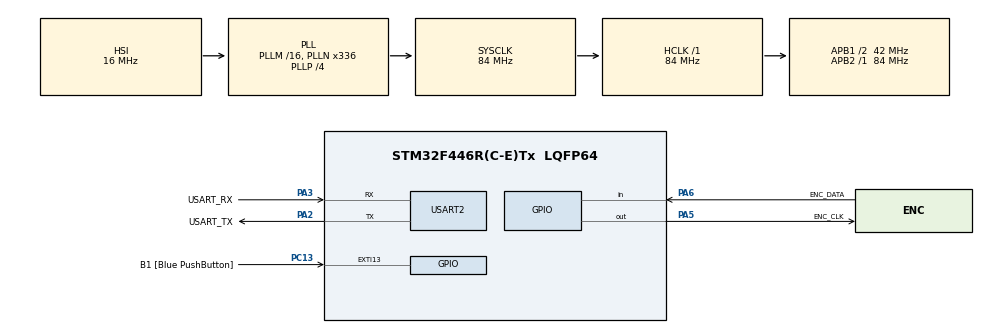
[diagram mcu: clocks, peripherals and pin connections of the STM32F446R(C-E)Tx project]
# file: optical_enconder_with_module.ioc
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Mcu.Family=STM32F4
Mcu.Name=STM32F446R(C-E)Tx
Mcu.Package=LQFP64
NVIC.PriorityGroup=NVIC_PRIORITYGROUP_0
PA13.GPIO_Label=TMS
PA13.Mode=Serial_Wire
PA13.Signal=SYS_JTMS-SWDIO
PA14.GPIO_Label=TCK
PA14.Mode=Serial_Wire
PA14.Signal=SYS_JTCK-SWCLK
PA2.GPIO_Label=USART_TX
PA2.Mode=Asynchronous
PA2.Signal=USART2_TX
PA3.GPIO_Label=USART_RX
PA3.Mode=Asynchronous
PA3.Signal=USART2_RX
PA5.GPIO_Label=ENC_CLK
PA5.GPIO_Speed=GPIO_SPEED_FREQ_VERY_HIGH
PA5.Signal=GPIO_Output
PA6.GPIO_Label=ENC_DATA
PA6.Signal=GPIO_Input
PB3.GPIO_Label=SWO
PB3.Signal=SYS_JTDO-SWO
PC13.GPIO_Label=B1 [Blue PushButton]
PC13.GPIO_ModeDefaultEXTI=GPIO_MODE_IT_FALLING
PC13.Signal=GPXTI13
PC14-OSC32_IN.Mode=LSE-External-Oscillator
PC14-OSC32_IN.Signal=RCC_OSC32_IN
PC15-OSC32_OUT.Mode=LSE-External-Oscillator
PC15-OSC32_OUT.Signal=RCC_OSC32_OUT
PH0-OSC_IN.Mode=HSE-External-Oscillator
PH0-OSC_IN.Signal=RCC_OSC_IN
PH1-OSC_OUT.Mode=HSE-External-Oscillator
PH1-OSC_OUT.Signal=RCC_OSC_OUT
ProjectManager.HeapSize=0x200
ProjectManager.StackSize=0x400
ProjectManager.TargetToolchain=STM32CubeIDE
RCC.48MHZClocksFreq_Value=84000000
RCC.AHBFreq_Value=84000000
RCC.APB1CLKDivider=RCC_HCLK_DIV2
RCC.APB1Freq_Value=42000000
RCC.APB1TimFreq_Value=84000000
RCC.APB2Freq_Value=84000000
RCC.APB2TimFreq_Value=84000000
RCC.CortexFreq_Value=84000000
RCC.FLatency-AdvancedSettings=FLASH_LATENCY_2
RCC.HCLKFreq_Value=84000000
RCC.HSE_VALUE=8000000
RCC.HSI_VALUE=16000000
RCC.PLLN=336
RCC.PLLP=RCC_PLLP_DIV4
RCC.SYSCLKFreq_VALUE=84000000
RCC.SYSCLKSource=RCC_SYSCLKSOURCE_PLLCLK
RCC.USBFreq_Value=168000000
RCC.VCOOutputFreq_Value=336000000
USART2.VirtualMode=VM_ASYNC
board=NUCLEO-F446RE

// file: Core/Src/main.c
/* USER CODE BEGIN Header */
/**
  ******************************************************************************
  * @file           : main.c
  * @brief          : Main program body
  ******************************************************************************
  * @attention
  *
  * Copyright (c) 2026 STMicroelectronics.
  * All rights reserved.
  *
  * This software is licensed under terms that can be found in the LICENSE file
  * in the root directory of this software component.
  * If no LICENSE file comes with this software, it is provided AS-IS.
  *
  ******************************************************************************
  */
/* USER CODE END Header */
#include "main.h"

UART_HandleTypeDef huart2;

/* USER CODE BEGIN PV */
uint8_t rxBuffer[6];
// Status variable: 0=OK, 1=ERROR, 2=BUSY, 3=TIMEOUT
volatile uint8_t spi_status = 0;
volatile uint8_t isFirstLoop = 1;
volatile uint32_t rawValue = 0;
volatile float position_MM = 0.0f;
volatile float start_MM = 0.0f;
volatile float myDistance = 0.0f;

/* USER CODE END PV */

void SystemClock_Config(void);
static void MX_GPIO_Init(void);
static void MX_USART2_UART_Init(void);

/* USER CODE BEGIN 0 */

// --- RENISHAW BISS-C BIT-BANG FUNCTION ---
uint32_t read_renishaw_position(void)
{
    // 1. Idle State: Master holds MA (Clock) High
    HAL_GPIO_WritePin(GPIOA, GPIO_PIN_5, GPIO_PIN_SET);

    // Tiny delay to ensure line is stable
    for(int k=0; k<20; k++) { __NOP(); }

    // 2. The "Ack" Search
    // The datasheet says encoder pulls SLO low to Ack.
    // We clock until we see this LOW signal.
    int timeout = 0;
    while (HAL_GPIO_ReadPin(GPIOA, GPIO_PIN_6) == GPIO_PIN_SET)
    {
        // Pulse Clock: Low -> High
        HAL_GPIO_WritePin(GPIOA, GPIO_PIN_5, GPIO_PIN_RESET);
        for(int k=0; k<5; k++) { __NOP(); }
        HAL_GPIO_WritePin(GPIOA, GPIO_PIN_5, GPIO_PIN_SET);
        for(int k=0; k<5; k++) { __NOP(); }

        timeout++;
        if (timeout > 5000) return 0xFFFFFFFF; // Error: Encoder not responding
    }

    // 3. The "Start Bit" Search
    // Now we clock until we see the Start Bit (Always HIGH)
    timeout = 0;
    while (HAL_GPIO_ReadPin(GPIOA, GPIO_PIN_6) == GPIO_PIN_RESET)
    {
        // Pulse Clock
        HAL_GPIO_WritePin(GPIOA, GPIO_PIN_5, GPIO_PIN_RESET);
        for(int k=0; k<5; k++) { __NOP(); }
        HAL_GPIO_WritePin(GPIOA, GPIO_PIN_5, GPIO_PIN_SET);
        for(int k=0; k<5; k++) { __NOP(); }

        timeout++;
        if (timeout > 5000) return 0xFFFFFFFF; // Error: Stuck in Ack
    }

    // 4. Read The "Zero" Bit
    // The datasheet says a "0" bit always follows the Start bit.
    // We clock once to skip past it.
    HAL_GPIO_WritePin(GPIOA, GPIO_PIN_5, GPIO_PIN_RESET);
    for(int k=0; k<5; k++) { __NOP(); }
    HAL_GPIO_WritePin(GPIOA, GPIO_PIN_5, GPIO_PIN_SET);
    for(int k=0; k<5; k++) { __NOP(); }

    // 5. Read Position Data (MSB First)
    // We read 32 bits to be safe
    uint32_t data = 0;
    for(int i = 0; i < 32; i++)
    {
        // Clock Low (Prepare bit)
        HAL_GPIO_WritePin(GPIOA, GPIO_PIN_5, GPIO_PIN_RESET);
        for(int k=0; k<5; k++) { __NOP(); }

        // Clock High (Read bit)
        HAL_GPIO_WritePin(GPIOA, GPIO_PIN_5, GPIO_PIN_SET);
        for(int k=0; k<5; k++) { __NOP(); }

        // Read Input
        int bit = HAL_GPIO_ReadPin(GPIOA, GPIO_PIN_6);
        data = (data << 1) | bit;
    }

    // 6. Stop & Timeout
    // Master sets MA High
    HAL_GPIO_WritePin(GPIOA, GPIO_PIN_5, GPIO_PIN_SET);

    // We must wait 31.25us before the next cycle
    for(int i=0; i<1000; i++) { __NOP(); }

    return data;
}

/* USER CODE END 0 */

int main(void)
{

  /* MCU Configuration--------------------------------------------------------*/

  /* Reset of all peripherals, Initializes the Flash interface and the Systick. */
  HAL_Init();

  /* Configure the system clock */
  SystemClock_Config();

  /* Initialize all configured peripherals */
  MX_GPIO_Init();
  MX_USART2_UART_Init();

  /* Infinite loop */
  while (1)
  {

    /* USER CODE BEGIN 3 */

	      // 1. Read directly using the Renishaw Protocol
	      uint32_t raw_result = read_renishaw_position();

	      // 2. Check for Errors (Our function returns 0xFFFFFFFF on timeout)
	      if (raw_result != 0xFFFFFFFF)
	      {
	          rawValue = raw_result >> 6;

	          position_MM = (float)rawValue * 0.00005f;

	          if (isFirstLoop) {
	              start_MM = position_MM;
	              isFirstLoop = 0;
	          }
	          myDistance = position_MM - start_MM;
	      }

	      HAL_Delay(5); // Small delay for the main loop
  }
  /* USER CODE END 3 */
}

void SystemClock_Config(void)
{
  RCC_OscInitTypeDef RCC_OscInitStruct = {0};
  RCC_ClkInitTypeDef RCC_ClkInitStruct = {0};

  /** Configure the main internal regulator output voltage
  */
  __HAL_RCC_PWR_CLK_ENABLE();
  __HAL_PWR_VOLTAGESCALING_CONFIG(PWR_REGULATOR_VOLTAGE_SCALE3);

  /** Initializes the RCC Oscillators according to the specified parameters
  * in the RCC_OscInitTypeDef structure.
  */
  RCC_OscInitStruct.OscillatorType = RCC_OSCILLATORTYPE_HSI;
  RCC_OscInitStruct.HSIState = RCC_HSI_ON;
  RCC_OscInitStruct.HSICalibrationValue = RCC_HSICALIBRATION_DEFAULT;
  RCC_OscInitStruct.PLL.PLLState = RCC_PLL_ON;
  RCC_OscInitStruct.PLL.PLLSource = RCC_PLLSOURCE_HSI;
  RCC_OscInitStruct.PLL.PLLM = 16;
  RCC_OscInitStruct.PLL.PLLN = 336;
  RCC_OscInitStruct.PLL.PLLP = RCC_PLLP_DIV4;
  RCC_OscInitStruct.PLL.PLLQ = 2;
  RCC_OscInitStruct.PLL.PLLR = 2;
  if (HAL_RCC_OscConfig(&RCC_OscInitStruct) != HAL_OK)
  {
    Error_Handler();
  }

  /** Initializes the CPU, AHB and APB buses clocks
  */
  RCC_ClkInitStruct.ClockType = RCC_CLOCKTYPE_HCLK|RCC_CLOCKTYPE_SYSCLK
                              |RCC_CLOCKTYPE_PCLK1|RCC_CLOCKTYPE_PCLK2;
  RCC_ClkInitStruct.SYSCLKSource = RCC_SYSCLKSOURCE_PLLCLK;
  RCC_ClkInitStruct.AHBCLKDivider = RCC_SYSCLK_DIV1;
  RCC_ClkInitStruct.APB1CLKDivider = RCC_HCLK_DIV2;
  RCC_ClkInitStruct.APB2CLKDivider = RCC_HCLK_DIV1;

  if (HAL_RCC_ClockConfig(&RCC_ClkInitStruct, FLASH_LATENCY_2) != HAL_OK)
  {
    Error_Handler();
  }
}

static void MX_USART2_UART_Init(void)
{

  huart2.Instance = USART2;
  huart2.Init.BaudRate = 115200;
  huart2.Init.WordLength = UART_WORDLENGTH_8B;
  huart2.Init.StopBits = UART_STOPBITS_1;
  huart2.Init.Parity = UART_PARITY_NONE;
  huart2.Init.Mode = UART_MODE_TX_RX;
  huart2.Init.HwFlowCtl = UART_HWCONTROL_NONE;
  huart2.Init.OverSampling = UART_OVERSAMPLING_16;
  if (HAL_UART_Init(&huart2) != HAL_OK)
  {
    Error_Handler();
  }

}

static void MX_GPIO_Init(void)
{
  GPIO_InitTypeDef GPIO_InitStruct = {0};

  /* GPIO Ports Clock Enable */
  __HAL_RCC_GPIOC_CLK_ENABLE();
  __HAL_RCC_GPIOH_CLK_ENABLE();
  __HAL_RCC_GPIOA_CLK_ENABLE();
  __HAL_RCC_GPIOB_CLK_ENABLE();

  /*Configure GPIO pin Output Level */
  HAL_GPIO_WritePin(ENC_CLK_GPIO_Port, ENC_CLK_Pin, GPIO_PIN_RESET);

  /*Configure GPIO pin : B1_Pin */
  GPIO_InitStruct.Pin = B1_Pin;
  GPIO_InitStruct.Mode = GPIO_MODE_IT_FALLING;
  GPIO_InitStruct.Pull = GPIO_NOPULL;
  HAL_GPIO_Init(B1_GPIO_Port, &GPIO_InitStruct);

  /*Configure GPIO pin : ENC_CLK_Pin */
  GPIO_InitStruct.Pin = ENC_CLK_Pin;
  GPIO_InitStruct.Mode = GPIO_MODE_OUTPUT_PP;
  GPIO_InitStruct.Pull = GPIO_NOPULL;
  GPIO_InitStruct.Speed = GPIO_SPEED_FREQ_VERY_HIGH;
  HAL_GPIO_Init(ENC_CLK_GPIO_Port, &GPIO_InitStruct);

  /*Configure GPIO pin : ENC_DATA_Pin */
  GPIO_InitStruct.Pin = ENC_DATA_Pin;
  GPIO_InitStruct.Mode = GPIO_MODE_INPUT;
  GPIO_InitStruct.Pull = GPIO_NOPULL;
  HAL_GPIO_Init(ENC_DATA_GPIO_Port, &GPIO_InitStruct);

}

void Error_Handler(void)
{
  __disable_irq();
  while (1)
  {
  }
}
